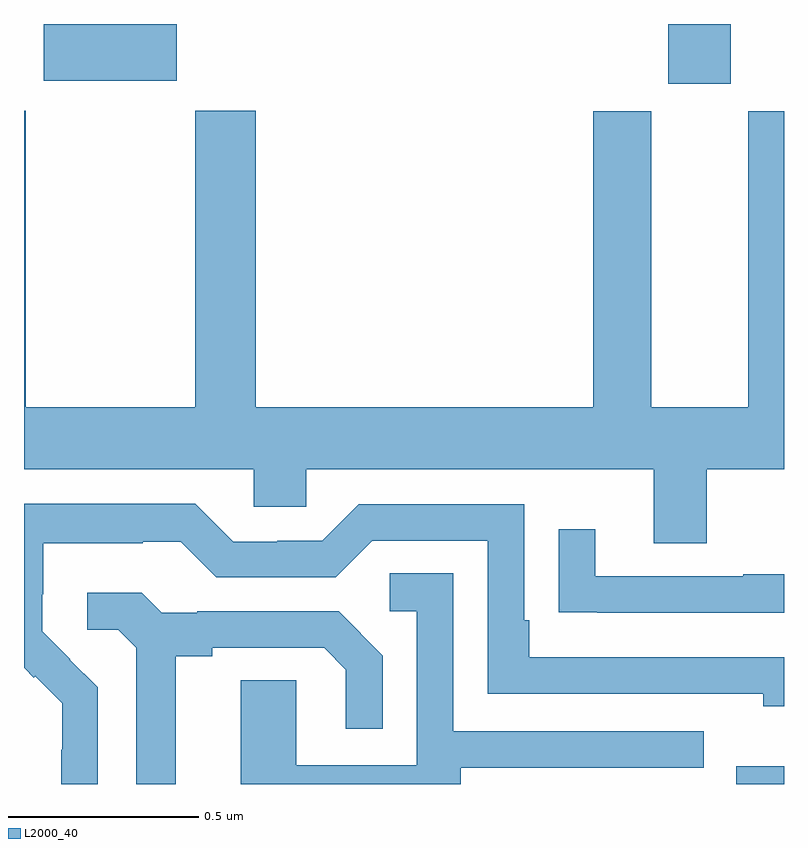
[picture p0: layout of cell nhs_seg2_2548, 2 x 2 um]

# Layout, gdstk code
import gdstk
lib = gdstk.Library(unit=1e-6, precision=1e-09)
def R(c, l, rs):  # rectangles x0, y0, x1, y1
    for r in rs: c.add(gdstk.rectangle(r[:2], r[2:], *l))
def P(c, l, *ps):  # polygons
    for p in ps: c.add(gdstk.Polygon(p, *l))
L2000_40 = (2000, 40)

nhs_seg2_2548 = lib.new_cell('nhs_seg2_2548')
R(nhs_seg2_2548, L2000_40, [(143.874,654.8,144,654.847), (143.696,656.643,143.86,656.8), (142.052,656.651,142.402,656.8)])
P(nhs_seg2_2548, L2000_40, [(143.797,655.628),(144,655.628),(144,656.571),(143.906,656.571),(143.906,655.792),(143.65,655.792),(143.65,656.571),(143.498,656.571),(143.498,655.792),(142.61,655.792),(142.61,656.572),(142.45,656.572),(142.45,655.792),(142.005,655.792),(142.005,656.572),(142,656.572),(142,655.628),(142.605,655.628),(142.605,655.53),(142.743,655.53),(142.743,655.628),(143.657,655.628),(143.657,655.434),(143.797,655.434)],
  [(142.194,655.054),(142.121,655.127),(142.122,655.128),(142.048,655.202),(142.048,655.299),(142.05,655.299),(142.05,655.433),(142.313,655.433),(142.313,655.437),(142.413,655.437),(142.506,655.344),(142.821,655.344),(142.917,655.44),(143.22,655.44),(143.22,655.038),(143.945,655.038),(143.945,655.004),(144,655.004),(144,655.134),(143.329,655.134),(143.329,655.231),(143.316,655.231),(143.316,655.536),(142.881,655.536),(142.785,655.44),(142.667,655.44),(142.667,655.437),(142.551,655.437),(142.451,655.537),(142,655.537),(142,655.106),(142.026,655.08),(142.029,655.083),(142.1,655.013),(142.1,654.89),(142.098,654.89),(142.098,654.8),(142.194,654.8)],
  [(144,655.352),(143.893,655.352),(143.893,655.347),(143.503,655.347),(143.503,655.471),(143.407,655.471),(143.407,655.252),(143.509,655.252),(143.509,655.251),(144,655.251)],
  [(143.149,654.843),(143.789,654.843),(143.789,654.939),(143.13,654.939),(143.13,655.355),(142.962,655.355),(142.962,655.254),(143.034,655.254),(143.034,654.849),(142.716,654.849),(142.716,655.073),(142.571,655.073),(142.571,654.8),(143.149,654.8)],
  [(142.399,655.136),(142.495,655.136),(142.495,655.158),(142.79,655.158),(142.847,655.101),(142.847,654.945),(142.944,654.945),(142.944,655.138),(142.828,655.254),(142.456,655.254),(142.456,655.251),(142.362,655.251),(142.31,655.303),(142.167,655.303),(142.167,655.206),(142.248,655.206),(142.295,655.159),(142.295,654.8),(142.399,654.8)])

lib.write_gds('nhs_seg2_2548.gds')
